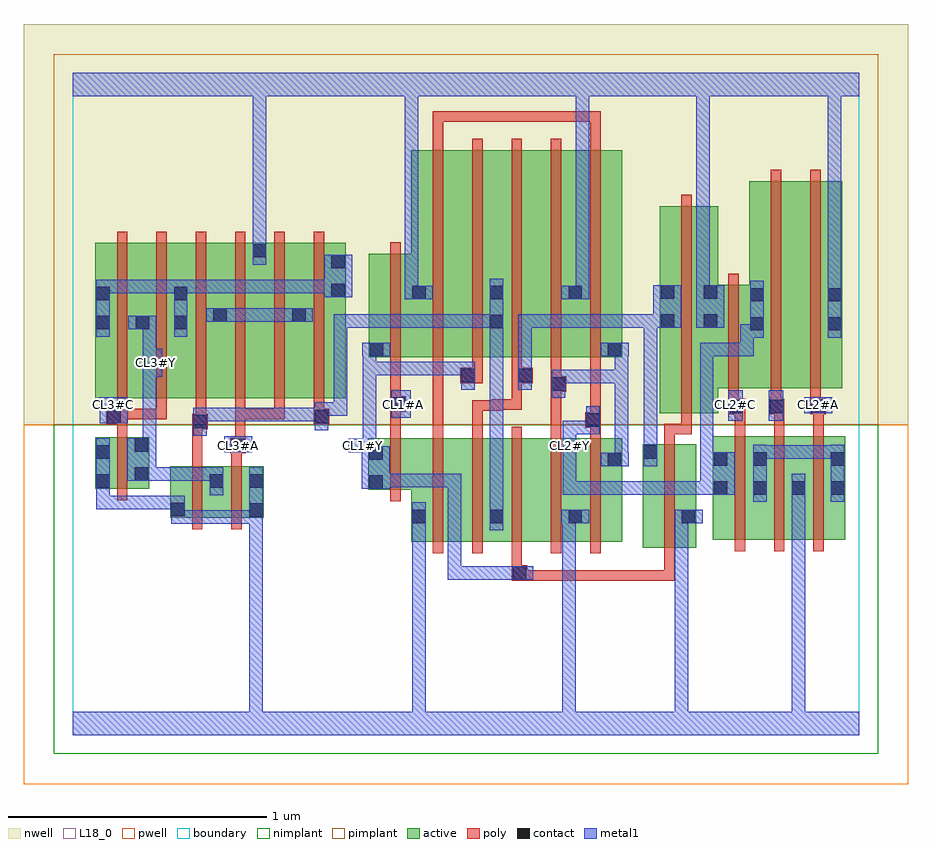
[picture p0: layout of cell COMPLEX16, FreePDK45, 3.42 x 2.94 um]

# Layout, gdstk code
import gdstk
lib = gdstk.Library(unit=1e-6, precision=1e-09)
def R(c, l, rs):  # rectangles x0, y0, x1, y1
    for r in rs: c.add(gdstk.rectangle(r[:2], r[2:], *l))
def A(c, l, x, y, w, h, nx, ny, dx, dy):  # array of equal rectangles
    R(c, l, [(x+i*dx, y+j*dy, x+i*dx+w, y+j*dy+h) for i in range(nx) for j in range(ny)])
active = (1, 0)
pwell = (2, 0)
nwell = (3, 0)
nimplant = (4, 0)
pimplant = (5, 0)
poly = (9, 0)
contact = (10, 0)
metal1 = (11, 0)
L18_0 = (18, 0)
boundary = (235, 0)

complex16 = lib.new_cell('COMPLEX16')
A(complex16, active, 0.388, 1.302, 0.212, 0.6, 4, 1, 0.152, 0)
R(complex16, active, [(2.202,0.724,2.41,1.124), (2.35,0.724,2.41,1.124), (1.308,0.748,1.368,1.148), (1.308,0.748,1.488,1.148), (1.488,0.748,1.668,1.148), (1.608,0.748,1.668,1.148), (1.608,0.748,1.792,1.148), (1.792,0.748,1.972,1.148), (1.912,0.748,1.972,1.148), (1.912,0.748,2.124,1.148), (2.064,0.756,2.124,1.148), (2.202,0.756,2.262,1.124), (2.474,0.756,2.534,1.156), (2.474,0.756,2.686,1.156), (2.626,0.756,2.834,1.156), (2.626,0.756,2.686,1.098), (2.774,0.756,2.834,1.156), (2.774,0.756,2.986,1.156), (2.926,0.756,2.986,1.156), (0.378,0.84,0.586,1.04), (0.526,0.84,0.738,1.04), (0.678,0.84,0.738,1.04), (0.378,0.842,0.438,1.04), (1.142,0.948,1.368,1.148), (1.142,0.948,1.202,1.148), (0.088,0.952,0.148,1.152), (0.088,0.952,0.296,1.152), (0.236,0.952,0.296,1.152), (0.526,0.952,0.586,1.012), (2.268,1.244,2.328,2.044), (2.268,1.244,2.494,2.044), (0.088,1.302,0.3,1.902), (0.088,1.302,0.148,1.902), (0.24,1.302,0.448,1.902), (2.434,1.34,2.674,1.74), (2.434,1.34,2.494,2.044), (2.614,1.34,2.674,1.732), (2.614,1.34,2.794,2.14), (2.794,1.34,2.974,2.14), (2.914,1.34,2.974,2.14), (0.996,1.452,1.056,1.902), (1.144,1.46,1.368,1.86), (1.144,1.46,1.204,1.644), (1.308,1.46,1.488,2.26), (1.308,1.46,1.368,1.74), (1.488,1.46,1.668,2.26), (1.608,1.46,1.668,2.26), (1.608,1.46,1.792,2.26), (1.792,1.46,1.972,2.26), (1.912,1.46,1.972,2.26), (1.912,1.46,2.124,2.26), (2.064,1.46,2.124,2.044), (0.24,1.564,0.3,1.844), (0.388,1.564,0.448,1.902), (0.54,1.594,0.6,1.844), (0.844,1.594,0.904,1.844), (0.692,1.842,0.752,1.902)])
R(complex16, pwell, [(-0.188,-0.188,3.228,1.2)])
R(complex16, nwell, [(-0.188,1.2,3.228,2.748)])
R(complex16, nimplant, [(-0.072,-0.072,3.112,1.2)])
R(complex16, pimplant, [(-0.072,1.2,3.112,2.632)])
A(complex16, poly, 1.392, 0.704, 0.04, 0.488, 5, 1, 0.152, 0)
A(complex16, poly, 2.558, 0.712, 0.04, 0.488, 3, 1, 0.152, 0)
A(complex16, poly, 2.558, 1.16, 0.04, 0.12, 3, 1, 0.152, 0)
A(complex16, poly, 0.628, 1.222, 0.04, 0.076, 3, 1, 0.152, 0)
A(complex16, poly, 0.172, 1.258, 0.04, 0.688, 6, 1, 0.152, 0)
A(complex16, poly, 1.392, 1.38, 0.04, 0.076, 3, 1, 0.152, 0)
A(complex16, poly, 1.392, 1.416, 0.04, 0.888, 5, 1, 0.152, 0)
R(complex16, poly, [(1.696,0.598,1.756,0.658), (1.716,0.598,1.914,0.638), (1.874,0.598,1.914,0.638), (1.874,0.598,1.914,0.638), (1.874,0.598,1.914,0.638), (1.874,0.598,2.114,0.638), (2.074,0.598,2.114,0.638), (2.074,0.598,2.114,0.638), (2.074,0.598,2.114,0.638), (2.074,0.598,2.22,0.638), (2.18,0.598,2.22,0.638), (2.18,0.598,2.22,0.638), (2.18,0.598,2.22,0.638), (2.18,0.598,2.326,0.638), (2.286,0.598,2.326,0.638), (2.286,0.598,2.326,0.72), (1.696,0.618,1.736,0.744), (2.286,0.68,2.326,1.168), (0.462,0.796,0.502,1.084), (0.614,0.796,0.654,1.084), (1.228,0.904,1.268,1.192), (0.172,0.908,0.212,1.196), (0.462,1.044,0.502,1.222), (0.614,1.044,0.654,1.13), (0.61,1.09,0.67,1.15), (0.628,1.11,0.668,1.262), (2.286,1.128,2.326,1.204), (1.228,1.152,1.268,1.29), (1.392,1.152,1.432,1.42), (1.544,1.152,1.584,1.294), (1.848,1.152,1.888,1.368), (2,1.152,2.04,1.228), (0.172,1.156,0.212,1.242), (2.286,1.164,2.326,1.204), (2.286,1.164,2.326,1.204), (2.286,1.164,2.392,1.204), (2.352,1.164,2.392,1.24), (0.462,1.182,0.502,1.222), (0.462,1.182,0.502,1.222), (0.462,1.182,0.522,1.242), (1.98,1.188,2.04,1.248), (2.352,1.2,2.392,2.088), (0.13,1.202,0.212,1.262), (0.476,1.202,0.516,1.298), (0.932,1.202,0.992,1.262), (2,1.208,2.04,1.248), (2,1.208,2.04,1.248), (2,1.208,2.04,1.456), (0.172,1.222,0.212,1.298), (0.172,1.222,0.212,1.262), (0.172,1.222,0.212,1.262), (0.172,1.222,0.364,1.262), (0.324,1.222,0.364,1.298), (0.324,1.222,0.364,1.262), (0.324,1.222,0.364,1.262), (0.324,1.222,0.364,1.262), (0.628,1.222,0.668,1.262), (0.628,1.222,0.668,1.262), (0.628,1.222,0.668,1.262), (0.628,1.222,0.82,1.262), (0.78,1.222,0.82,1.262), (2.534,1.24,2.598,1.3), (2.69,1.24,2.75,1.3), (2.71,1.24,2.75,1.28), (2.71,1.24,2.75,1.28), (2.85,1.24,2.91,1.3), (1.228,1.25,1.288,1.31), (1.544,1.254,1.584,1.294), (1.544,1.254,1.66,1.294), (1.62,1.254,1.66,1.298), (1.62,1.258,1.736,1.298), (1.696,1.258,1.736,1.298), (1.696,1.258,1.736,1.4), (2.534,1.26,2.574,1.336), (2.534,1.26,2.574,1.3), (2.534,1.26,2.574,1.3), (2.698,1.26,2.738,1.336), (2.85,1.26,2.89,1.336), (2.85,1.26,2.89,1.3), (2.85,1.26,2.89,1.3), (1.228,1.27,1.268,1.31), (1.228,1.27,1.268,1.31), (1.228,1.27,1.268,1.456), (2.534,1.296,2.574,1.784), (2.698,1.296,2.738,2.184), (2.85,1.296,2.89,2.184), (1.848,1.328,1.888,1.368), (1.848,1.328,1.888,1.368), (1.848,1.328,1.908,1.388), (1.848,1.348,1.888,1.456), (1.498,1.36,1.584,1.42), (1.696,1.36,1.778,1.42), (1.392,1.38,1.432,1.42), (1.392,1.38,1.432,1.42), (1.392,1.38,1.432,1.42), (1.228,1.416,1.268,1.904), (1.392,2.264,1.432,2.41), (2,2.264,2.04,2.41), (1.392,2.37,1.432,2.41), (1.392,2.37,1.432,2.41), (1.392,2.37,1.432,2.41), (1.392,2.37,1.538,2.41), (1.498,2.37,1.538,2.41), (1.498,2.37,1.782,2.41), (1.742,2.37,1.782,2.41), (1.742,2.37,1.782,2.41), (1.742,2.37,1.782,2.41), (1.742,2.37,1.888,2.41), (1.848,2.37,1.888,2.41), (1.848,2.37,1.888,2.41), (1.848,2.37,1.888,2.41), (1.848,2.37,2.04,2.41), (2,2.37,2.04,2.41), (2,2.37,2.04,2.41), (2,2.37,2.04,2.41)])
R(complex16, contact, [(1.7,0.602,1.752,0.654), (1.312,0.82,1.364,0.872), (1.612,0.82,1.664,0.872), (1.916,0.82,1.968,0.872), (2.354,0.82,2.406,0.872), (0.682,0.844,0.734,0.896), (0.382,0.846,0.434,0.898), (2.478,0.93,2.53,0.982), (2.63,0.93,2.682,0.982), (2.778,0.93,2.83,0.982), (2.93,0.93,2.982,0.982), (1.146,0.952,1.198,1.004), (0.092,0.956,0.144,1.008), (0.53,0.956,0.582,1.008), (0.682,0.956,0.734,1.008), (0.24,0.984,0.292,1.036), (2.068,1.04,2.12,1.092), (2.478,1.042,2.53,1.094), (2.63,1.042,2.682,1.094), (2.93,1.042,2.982,1.094), (1.146,1.064,1.198,1.116), (0.092,1.068,0.144,1.12), (2.206,1.068,2.258,1.12), (0.614,1.094,0.666,1.146), (0.24,1.096,0.292,1.148), (0.466,1.186,0.518,1.238), (1.984,1.192,2.036,1.244), (0.134,1.206,0.186,1.258), (0.936,1.206,0.988,1.258), (2.538,1.244,2.59,1.296), (2.694,1.244,2.746,1.296), (2.854,1.244,2.906,1.296), (1.232,1.254,1.284,1.306), (1.852,1.332,1.904,1.384), (1.502,1.364,1.554,1.416), (1.722,1.364,1.774,1.416), (1.148,1.464,1.2,1.516), (2.068,1.464,2.12,1.516), (2.618,1.564,2.67,1.616), (2.918,1.564,2.97,1.616), (0.092,1.568,0.144,1.62), (0.244,1.568,0.296,1.62), (0.392,1.568,0.444,1.62), (1.612,1.572,1.664,1.624), (2.272,1.574,2.324,1.626), (2.438,1.574,2.49,1.626), (0.544,1.598,0.596,1.65), (0.848,1.598,0.9,1.65), (2.618,1.676,2.67,1.728), (2.918,1.676,2.97,1.728), (0.092,1.68,0.144,1.732), (0.392,1.68,0.444,1.732), (1.312,1.684,1.364,1.736), (1.612,1.684,1.664,1.736), (1.916,1.684,1.968,1.736), (2.272,1.686,2.324,1.738), (2.438,1.686,2.49,1.738), (1,1.692,1.052,1.744), (1,1.804,1.052,1.856), (0.696,1.846,0.748,1.898)])
R(complex16, metal1, [(0,0,3.04,0.092), (0.682,0.04,0.734,0.092), (0.682,0.04,0.734,0.092), (0.682,0.04,0.734,0.092), (0.682,0.04,0.734,0.092), (0.682,0.04,0.734,0.092), (0.682,0.04,0.734,0.092), (0.682,0.04,0.734,0.092), (0.682,0.04,0.734,0.092), (0.682,0.04,0.734,0.868), (1.312,0.04,1.364,0.092), (1.312,0.04,1.364,0.092), (1.312,0.04,1.364,0.092), (1.312,0.04,1.364,0.092), (1.312,0.04,1.364,0.092), (1.312,0.04,1.364,0.092), (1.312,0.04,1.364,0.092), (1.312,0.04,1.364,0.092), (1.312,0.04,1.364,0.092), (1.312,0.04,1.364,0.092), (1.312,0.04,1.364,0.092), (1.312,0.04,1.364,0.092), (1.312,0.04,1.364,0.844), (1.892,0.04,1.944,0.092), (1.892,0.04,1.944,0.092), (1.892,0.04,1.944,0.092), (1.892,0.04,1.944,0.092), (1.892,0.04,1.944,0.092), (1.892,0.04,1.944,0.092), (1.892,0.04,1.944,0.092), (1.892,0.04,1.944,0.092), (1.892,0.04,1.944,0.092), (1.892,0.04,1.944,0.092), (1.892,0.04,1.944,0.092), (1.892,0.04,1.944,0.092), (1.892,0.04,1.944,0.872), (2.326,0.04,2.378,0.092), (2.326,0.04,2.378,0.092), (2.326,0.04,2.378,0.092), (2.326,0.04,2.378,0.092), (2.326,0.04,2.378,0.092), (2.326,0.04,2.378,0.092), (2.326,0.04,2.378,0.092), (2.326,0.04,2.378,0.092), (2.326,0.04,2.378,0.092), (2.326,0.04,2.378,0.092), (2.326,0.04,2.378,0.092), (2.326,0.04,2.378,0.092), (2.326,0.04,2.378,0.872), (2.778,0.04,2.83,0.092), (2.778,0.04,2.83,0.092), (2.778,0.04,2.83,0.092), (2.778,0.04,2.83,0.092), (2.778,0.04,2.83,0.092), (2.778,0.04,2.83,0.092), (2.778,0.04,2.83,0.092), (2.778,0.04,2.83,0.092), (2.778,0.04,2.83,0.092), (2.778,0.04,2.83,0.092), (2.778,0.04,2.83,0.954), (1.45,0.602,1.502,0.654), (1.45,0.602,1.502,0.654), (1.45,0.602,1.502,0.654), (1.45,0.602,1.502,0.654), (1.45,0.602,1.502,0.654), (1.45,0.602,1.664,0.654), (1.45,0.602,1.502,1.01), (1.612,0.602,1.664,0.654), (1.612,0.602,1.664,0.654), (1.612,0.602,1.664,0.654), (1.612,0.602,1.724,0.654), (1.672,0.602,1.78,0.654), (1.312,0.792,1.364,0.9), (1.612,0.792,1.664,0.9), (0.682,0.816,0.734,0.868), (0.682,0.816,0.734,0.868), (0.682,0.816,0.734,0.868), (0.682,0.816,0.734,0.868), (0.682,0.816,0.734,0.868), (0.682,0.816,0.734,0.868), (0.682,0.816,0.734,0.868), (0.682,0.816,0.734,0.868), (0.682,0.816,0.734,1.036), (0.382,0.818,0.434,0.87), (0.382,0.818,0.434,0.87), (0.382,0.818,0.434,0.926), (0.382,0.818,0.554,0.87), (0.502,0.818,0.554,0.87), (0.502,0.818,0.734,0.87), (0.682,0.818,0.734,0.87), (0.682,0.818,0.734,0.87), (1.888,0.82,1.996,0.872), (2.326,0.82,2.434,0.872), (1.612,0.848,1.664,1.596), (0.092,0.874,0.324,0.926), (0.092,0.874,0.144,0.98), (0.272,0.874,0.324,0.926), (0.272,0.874,0.324,0.926), (0.272,0.874,0.324,0.926), (0.272,0.874,0.434,0.926), (2.63,0.902,2.682,1.122), (2.778,0.902,2.83,0.954), (2.778,0.902,2.83,0.954), (2.778,0.902,2.83,1.01), (2.93,0.902,2.982,1.122), (0.092,0.928,0.144,0.98), (0.092,0.928,0.144,1.148), (0.53,0.928,0.582,1.036), (1.894,0.93,1.946,0.982), (1.894,0.93,2.148,0.982), (1.894,0.93,1.946,1.118), (2.096,0.93,2.148,0.982), (2.096,0.93,2.148,0.982), (2.096,0.93,2.148,0.982), (2.096,0.93,2.258,0.982), (2.206,0.93,2.258,0.982), (2.206,0.93,2.258,0.982), (2.206,0.93,2.258,0.982), (2.206,0.93,2.476,0.982), (2.424,0.93,2.476,0.982), (2.424,0.93,2.476,0.982), (2.424,0.93,2.476,0.982), (2.424,0.93,2.476,0.982), (2.424,0.93,2.558,1.094), (1.118,0.952,1.226,1.116), (1.174,0.958,1.226,1.01), (1.174,0.958,1.226,1.01), (1.174,0.958,1.338,1.01), (1.286,0.958,1.338,1.01), (1.286,0.958,1.338,1.01), (1.286,0.958,1.338,1.01), (1.286,0.958,1.502,1.01), (1.45,0.958,1.502,1.01), (1.45,0.958,1.502,1.01), (1.45,0.958,1.502,1.01), (0.212,0.984,0.324,1.148), (0.272,0.984,0.324,1.036), (0.272,0.984,0.324,1.036), (0.272,0.984,0.444,1.036), (0.392,0.984,0.444,1.036), (0.392,0.984,0.444,1.036), (0.392,0.984,0.444,1.036), (0.392,0.984,0.582,1.036), (2.04,1.04,2.148,1.092), (2.094,1.04,2.146,1.412), (2.206,1.04,2.258,1.148), (2.424,1.042,2.476,1.094), (2.424,1.042,2.476,1.094), (2.424,1.042,2.476,1.094), (2.424,1.042,2.476,1.094), (2.424,1.042,2.476,1.516), (1.118,1.064,1.17,1.146), (1.894,1.066,1.946,1.118), (1.894,1.066,1.946,1.118), (1.894,1.066,1.946,1.216), (2.63,1.068,2.746,1.12), (2.694,1.068,2.746,1.12), (2.694,1.068,2.86,1.12), (2.808,1.068,2.86,1.12), (2.808,1.068,2.86,1.12), (2.808,1.068,2.86,1.12), (2.808,1.068,2.982,1.12), (0.586,1.094,0.694,1.156), (1.066,1.094,1.174,1.146), (1.122,1.094,1.174,1.444), (0.272,1.096,0.324,1.438), (2.206,1.096,2.258,1.148), (2.206,1.096,2.258,1.148), (2.206,1.096,2.258,1.148), (2.206,1.096,2.258,1.148), (2.206,1.096,2.258,1.626), (0.466,1.158,0.518,1.266), (1.894,1.164,2.036,1.216), (1.984,1.164,2.036,1.272), (0.936,1.178,0.988,1.286), (0.106,1.206,0.214,1.306), (0.466,1.214,0.566,1.266), (0.514,1.214,0.566,1.266), (0.514,1.214,0.734,1.266), (0.682,1.214,0.734,1.266), (0.682,1.214,0.734,1.266), (0.682,1.214,0.734,1.266), (0.682,1.214,0.878,1.266), (0.826,1.214,0.878,1.266), (0.826,1.214,0.878,1.266), (0.826,1.214,0.878,1.266), (0.826,1.214,0.988,1.266), (2.534,1.216,2.59,1.334), (2.69,1.216,2.746,1.334), (1.232,1.226,1.306,1.334), (0.936,1.234,1.062,1.286), (1.01,1.234,1.062,1.286), (1.01,1.234,1.062,1.626), (2.826,1.244,2.934,1.306), (1.852,1.304,1.904,1.412), (1.502,1.336,1.554,1.444), (1.722,1.336,1.774,1.444), (1.852,1.36,1.904,1.412), (1.852,1.36,1.904,1.412), (1.852,1.36,2.146,1.412), (2.094,1.36,2.146,1.412), (2.094,1.36,2.146,1.412), (2.094,1.36,2.146,1.412), (2.094,1.36,2.146,1.412), (2.094,1.36,2.146,1.412), (2.094,1.36,2.146,1.516), (0.272,1.386,0.346,1.494), (1.122,1.392,1.174,1.444), (1.122,1.392,1.174,1.444), (1.122,1.392,1.174,1.444), (1.122,1.392,1.174,1.516), (1.122,1.392,1.392,1.444), (1.34,1.392,1.392,1.444), (1.34,1.392,1.392,1.444), (1.34,1.392,1.392,1.444), (1.34,1.392,1.554,1.444), (1.502,1.392,1.554,1.444), (1.502,1.392,1.554,1.444), (1.722,1.392,1.774,1.444), (1.722,1.392,1.774,1.444), (1.722,1.392,1.774,1.626), (0.272,1.442,0.324,1.494), (0.272,1.442,0.324,1.494), (0.272,1.442,0.324,1.62), (1.12,1.464,1.228,1.516), (2.04,1.464,2.148,1.516), (2.424,1.464,2.476,1.516), (2.424,1.464,2.632,1.516), (2.58,1.464,2.632,1.588), (2.58,1.536,2.67,1.588), (2.618,1.536,2.67,1.756), (2.918,1.536,2.97,1.756), (0.092,1.54,0.144,1.76), (0.392,1.54,0.444,1.76), (1.612,1.544,1.664,1.596), (1.612,1.544,1.664,1.596), (1.612,1.544,1.664,1.596), (1.612,1.544,1.664,1.596), (1.612,1.544,1.664,1.764), (0.216,1.568,0.324,1.62), (1.01,1.574,1.062,1.626), (1.01,1.574,1.062,1.626), (1.01,1.574,1.062,1.626), (1.01,1.574,1.172,1.626), (1.12,1.574,1.172,1.626), (1.12,1.574,1.172,1.626), (1.12,1.574,1.172,1.626), (1.12,1.574,1.338,1.626), (1.286,1.574,1.338,1.626), (1.286,1.574,1.338,1.626), (1.286,1.574,1.338,1.626), (1.286,1.574,1.338,1.626), (1.286,1.574,1.338,1.626), (1.286,1.574,1.502,1.626), (1.45,1.574,1.502,1.626), (1.45,1.574,1.502,1.626), (1.45,1.574,1.502,1.626), (1.45,1.574,1.664,1.626), (1.722,1.574,1.774,1.626), (1.722,1.574,1.884,1.626), (1.832,1.574,1.884,1.626), (1.832,1.574,1.884,1.626), (1.832,1.574,1.884,1.626), (1.832,1.574,1.884,1.626), (1.832,1.574,1.884,1.626), (1.832,1.574,2.106,1.626), (2.054,1.574,2.106,1.626), (2.054,1.574,2.106,1.626), (2.054,1.574,2.106,1.626), (2.054,1.574,2.296,1.626), (2.206,1.574,2.296,1.626), (2.244,1.574,2.296,1.626), (2.244,1.574,2.352,1.738), (2.41,1.574,2.518,1.738), (0.516,1.598,0.624,1.65), (0.572,1.598,0.734,1.65), (0.682,1.598,0.734,1.65), (0.682,1.598,0.734,1.65), (0.682,1.598,0.734,1.65), (0.682,1.598,0.872,1.65), (0.82,1.598,0.872,1.65), (0.82,1.598,0.872,1.65), (0.82,1.598,0.928,1.65), (1.284,1.684,1.336,1.736), (1.284,1.684,1.336,1.736), (1.284,1.684,1.392,1.736), (1.284,1.684,1.336,2.52), (1.888,1.684,1.996,1.736), (1.944,1.684,1.996,1.736), (1.944,1.684,1.996,1.736), (1.944,1.684,1.996,1.736), (1.944,1.684,1.996,1.736), (1.944,1.684,1.996,1.736), (1.944,1.684,1.996,1.736), (1.944,1.684,1.996,2.52), (2.41,1.686,2.462,1.738), (2.41,1.686,2.462,1.738), (2.41,1.686,2.462,2.52), (0.972,1.692,1.08,1.856), (2.918,1.704,2.97,2.52), (0.092,1.708,0.144,1.76), (0.092,1.708,0.144,1.76), (0.092,1.708,0.324,1.76), (0.272,1.708,0.324,1.76), (0.272,1.708,0.324,1.76), (0.272,1.708,0.324,1.76), (0.272,1.708,0.444,1.76), (0.392,1.708,0.444,1.76), (0.392,1.708,0.444,1.76), (0.392,1.708,0.624,1.76), (0.572,1.708,0.624,1.76), (0.572,1.708,0.734,1.76), (0.682,1.708,0.734,1.76), (0.682,1.708,0.734,1.76), (0.682,1.708,0.734,1.76), (0.682,1.708,0.878,1.76), (0.826,1.708,0.878,1.76), (0.826,1.708,0.878,1.76), (0.826,1.708,0.878,1.76), (0.826,1.708,1.008,1.76), (0.956,1.708,1.008,1.76), (0.956,1.708,1.024,1.76), (0.696,1.818,0.748,1.926), (0.696,1.874,0.748,1.926), (0.696,1.874,0.748,1.926), (0.696,1.874,0.748,1.926), (0.696,1.874,0.748,1.926), (0.696,1.874,0.748,1.926), (0.696,1.874,0.748,1.926), (0.696,1.874,0.748,2.52), (0,2.468,3.04,2.56), (0.696,2.468,0.748,2.52), (0.696,2.468,0.748,2.52), (0.696,2.468,0.748,2.52), (0.696,2.468,0.748,2.52), (0.696,2.468,0.748,2.52), (0.696,2.468,0.748,2.52), (1.284,2.468,1.336,2.52), (1.284,2.468,1.336,2.52), (1.284,2.468,1.336,2.52), (1.284,2.468,1.336,2.52), (1.284,2.468,1.336,2.52), (1.284,2.468,1.336,2.52), (1.944,2.468,1.996,2.52), (1.944,2.468,1.996,2.52), (2.41,2.468,2.462,2.52), (2.41,2.468,2.462,2.52), (2.41,2.468,2.462,2.52), (2.41,2.468,2.462,2.52), (2.41,2.468,2.462,2.52), (2.41,2.468,2.462,2.52), (2.918,2.468,2.97,2.52), (2.918,2.468,2.97,2.52), (2.918,2.468,2.97,2.52), (2.918,2.468,2.97,2.52), (2.918,2.468,2.97,2.52), (2.918,2.468,2.97,2.52), (2.918,2.468,2.97,2.52), (2.918,2.468,2.97,2.52)])
A(complex16, L18_0, 2.534, 1.254, 0.052, 0.052, 3, 1, 0.16, 0)
R(complex16, L18_0, [(0,0,3.04,0.092), (0.682,0.04,0.734,0.092), (0.682,0.04,0.734,0.092), (0.682,0.04,0.734,0.092), (0.682,0.04,0.734,0.092), (0.682,0.04,0.734,0.092), (0.682,0.04,0.734,0.092), (0.682,0.04,0.734,0.092), (0.682,0.04,0.734,0.092), (0.682,0.04,0.734,0.868), (1.312,0.04,1.364,0.092), (1.312,0.04,1.364,0.092), (1.312,0.04,1.364,0.092), (1.312,0.04,1.364,0.092), (1.312,0.04,1.364,0.092), (1.312,0.04,1.364,0.092), (1.312,0.04,1.364,0.092), (1.312,0.04,1.364,0.092), (1.312,0.04,1.364,0.092), (1.312,0.04,1.364,0.092), (1.312,0.04,1.364,0.092), (1.312,0.04,1.364,0.092), (1.312,0.04,1.364,0.844), (1.892,0.04,1.944,0.092), (1.892,0.04,1.944,0.092), (1.892,0.04,1.944,0.092), (1.892,0.04,1.944,0.092), (1.892,0.04,1.944,0.092), (1.892,0.04,1.944,0.092), (1.892,0.04,1.944,0.092), (1.892,0.04,1.944,0.092), (1.892,0.04,1.944,0.092), (1.892,0.04,1.944,0.092), (1.892,0.04,1.944,0.092), (1.892,0.04,1.944,0.092), (1.892,0.04,1.944,0.872), (2.326,0.04,2.378,0.092), (2.326,0.04,2.378,0.092), (2.326,0.04,2.378,0.092), (2.326,0.04,2.378,0.092), (2.326,0.04,2.378,0.092), (2.326,0.04,2.378,0.092), (2.326,0.04,2.378,0.092), (2.326,0.04,2.378,0.092), (2.326,0.04,2.378,0.092), (2.326,0.04,2.378,0.092), (2.326,0.04,2.378,0.092), (2.326,0.04,2.378,0.092), (2.326,0.04,2.378,0.872), (2.778,0.04,2.83,0.092), (2.778,0.04,2.83,0.092), (2.778,0.04,2.83,0.092), (2.778,0.04,2.83,0.092), (2.778,0.04,2.83,0.092), (2.778,0.04,2.83,0.092), (2.778,0.04,2.83,0.092), (2.778,0.04,2.83,0.092), (2.778,0.04,2.83,0.092), (2.778,0.04,2.83,0.092), (2.778,0.04,2.83,0.954), (1.45,0.602,1.502,0.654), (1.45,0.602,1.502,0.654), (1.45,0.602,1.502,0.654), (1.45,0.602,1.502,0.654), (1.45,0.602,1.502,0.654), (1.45,0.602,1.502,1.01), (1.45,0.602,1.664,0.654), (1.612,0.602,1.664,0.654), (1.612,0.602,1.664,0.654), (1.612,0.602,1.664,0.654), (1.612,0.602,1.724,0.654), (1.672,0.602,1.78,0.654), (1.312,0.792,1.364,0.9), (0.682,0.816,0.734,1.036), (0.682,0.816,0.734,0.868), (0.682,0.816,0.734,0.868), (0.682,0.816,0.734,0.868), (0.682,0.816,0.734,0.868), (0.682,0.816,0.734,0.868), (0.682,0.816,0.734,0.868), (0.682,0.816,0.734,0.868), (0.682,0.816,0.734,0.868), (0.382,0.818,0.434,0.87), (0.382,0.818,0.434,0.87), (0.382,0.818,0.434,0.926), (0.382,0.818,0.554,0.87), (0.502,0.818,0.554,0.87), (0.502,0.818,0.734,0.87), (0.682,0.818,0.734,0.87), (0.682,0.818,0.734,0.87), (1.888,0.82,1.996,0.872), (2.326,0.82,2.434,0.872), (0.092,0.874,0.144,0.98), (0.092,0.874,0.324,0.926), (0.272,0.874,0.324,0.926), (0.272,0.874,0.324,0.926), (0.272,0.874,0.324,0.926), (0.272,0.874,0.434,0.926), (2.778,0.902,2.83,0.954), (2.778,0.902,2.83,0.954), (2.778,0.902,2.83,1.01), (0.092,0.928,0.144,1.148), (0.092,0.928,0.144,0.98), (0.53,0.928,0.582,1.036), (1.894,0.93,1.946,0.982), (1.894,0.93,1.946,1.118), (1.894,0.93,2.148,0.982), (2.096,0.93,2.148,0.982), (2.096,0.93,2.148,0.982), (2.096,0.93,2.148,0.982), (2.096,0.93,2.258,0.982), (2.206,0.93,2.258,0.982), (2.206,0.93,2.258,0.982), (2.206,0.93,2.258,0.982), (2.206,0.93,2.476,0.982), (2.424,0.93,2.476,0.982), (2.424,0.93,2.476,0.982), (2.424,0.93,2.476,0.982), (2.424,0.93,2.476,0.982), (2.424,0.93,2.558,1.094), (1.118,0.952,1.226,1.116), (1.174,0.958,1.226,1.01), (1.174,0.958,1.226,1.01), (1.174,0.958,1.338,1.01), (1.286,0.958,1.338,1.01), (1.286,0.958,1.338,1.01), (1.286,0.958,1.338,1.01), (1.286,0.958,1.502,1.01), (1.45,0.958,1.502,1.01), (1.45,0.958,1.502,1.01), (1.45,0.958,1.502,1.01), (0.212,0.984,0.324,1.148), (0.272,0.984,0.324,1.036), (0.272,0.984,0.324,1.036), (0.272,0.984,0.444,1.036), (0.392,0.984,0.444,1.036), (0.392,0.984,0.444,1.036), (0.392,0.984,0.444,1.036), (0.392,0.984,0.582,1.036), (2.424,1.042,2.476,1.094), (2.424,1.042,2.476,1.094), (2.424,1.042,2.476,1.094), (2.424,1.042,2.476,1.094), (2.424,1.042,2.476,1.516), (1.118,1.064,1.17,1.146), (1.894,1.066,1.946,1.118), (1.894,1.066,1.946,1.118), (1.894,1.066,1.946,1.216), (0.586,1.094,0.694,1.156), (0.614,1.094,0.666,1.146), (1.066,1.094,1.174,1.146), (1.094,1.094,1.146,1.146), (1.122,1.094,1.174,1.444), (1.894,1.094,1.946,1.146), (0.272,1.096,0.324,1.438), (1.894,1.164,2.036,1.216), (1.984,1.164,2.036,1.272), (0.106,1.206,0.214,1.306), (2.534,1.216,2.59,1.334), (2.69,1.216,2.746,1.334), (1.232,1.226,1.306,1.334), (2.826,1.244,2.934,1.306), (0.134,1.254,0.186,1.306), (1.254,1.254,1.306,1.306), (1.502,1.336,1.554,1.444), (0.272,1.386,0.346,1.494), (1.122,1.392,1.174,1.444), (1.122,1.392,1.174,1.444), (1.122,1.392,1.174,1.444), (1.122,1.392,1.174,1.516), (1.122,1.392,1.392,1.444), (1.34,1.392,1.392,1.444), (1.34,1.392,1.392,1.444), (1.34,1.392,1.392,1.444), (1.34,1.392,1.554,1.444), (1.502,1.392,1.554,1.444), (1.502,1.392,1.554,1.444), (0.294,1.414,0.346,1.466), (0.272,1.442,0.324,1.494), (0.272,1.442,0.324,1.494), (0.272,1.442,0.324,1.62), (1.12,1.464,1.228,1.516), (2.424,1.464,2.476,1.516), (2.424,1.464,2.632,1.516), (2.58,1.464,2.632,1.588), (2.58,1.536,2.67,1.588), (2.618,1.536,2.67,1.756), (2.918,1.536,2.97,1.756), (0.216,1.568,0.324,1.62), (2.41,1.574,2.518,1.738), (1.284,1.684,1.336,1.736), (1.284,1.684,1.336,1.736), (1.284,1.684,1.392,1.736), (1.284,1.684,1.336,2.52), (1.888,1.684,1.996,1.736), (1.944,1.684,1.996,1.736), (1.944,1.684,1.996,1.736), (1.944,1.684,1.996,1.736), (1.944,1.684,1.996,1.736), (1.944,1.684,1.996,1.736), (1.944,1.684,1.996,1.736), (1.944,1.684,1.996,2.52), (2.41,1.686,2.462,1.738), (2.41,1.686,2.462,1.738), (2.41,1.686,2.462,2.52), (2.918,1.704,2.97,2.52), (0.696,1.818,0.748,1.926), (0.696,1.874,0.748,1.926), (0.696,1.874,0.748,1.926), (0.696,1.874,0.748,1.926), (0.696,1.874,0.748,1.926), (0.696,1.874,0.748,1.926), (0.696,1.874,0.748,1.926), (0.696,1.874,0.748,2.52), (0,2.468,3.04,2.56), (0.696,2.468,0.748,2.52), (0.696,2.468,0.748,2.52), (0.696,2.468,0.748,2.52), (0.696,2.468,0.748,2.52), (0.696,2.468,0.748,2.52), (0.696,2.468,0.748,2.52), (1.284,2.468,1.336,2.52), (1.284,2.468,1.336,2.52), (1.284,2.468,1.336,2.52), (1.284,2.468,1.336,2.52), (1.284,2.468,1.336,2.52), (1.284,2.468,1.336,2.52), (1.944,2.468,1.996,2.52), (1.944,2.468,1.996,2.52), (2.41,2.468,2.462,2.52), (2.41,2.468,2.462,2.52), (2.41,2.468,2.462,2.52), (2.41,2.468,2.462,2.52), (2.41,2.468,2.462,2.52), (2.41,2.468,2.462,2.52), (2.918,2.468,2.97,2.52), (2.918,2.468,2.97,2.52), (2.918,2.468,2.97,2.52), (2.918,2.468,2.97,2.52), (2.918,2.468,2.97,2.52), (2.918,2.468,2.97,2.52), (2.918,2.468,2.97,2.52), (2.918,2.468,2.97,2.52)])
R(complex16, boundary, [(0,0,3.04,2.56)])
complex16.add(gdstk.Label('CL1#A', (1.28,1.28), layer=11, texttype=0))
complex16.add(gdstk.Label('CL1#Y', (1.12,1.12), layer=11, texttype=0))
complex16.add(gdstk.Label('CL2#A', (2.88,1.28), layer=11, texttype=0))
complex16.add(gdstk.Label('CL2#B', (2.72,1.28), layer=11, texttype=0))
complex16.add(gdstk.Label('CL2#C', (2.56,1.28), layer=11, texttype=0))
complex16.add(gdstk.Label('CL2#Y', (1.92,1.12), layer=11, texttype=0))
complex16.add(gdstk.Label('CL3#A', (0.64,1.12), layer=11, texttype=0))
complex16.add(gdstk.Label('CL3#C', (0.16,1.28), layer=11, texttype=0))
complex16.add(gdstk.Label('CL3#Y', (0.32,1.44), layer=11, texttype=0))

lib.write_gds('COMPLEX16.gds')
